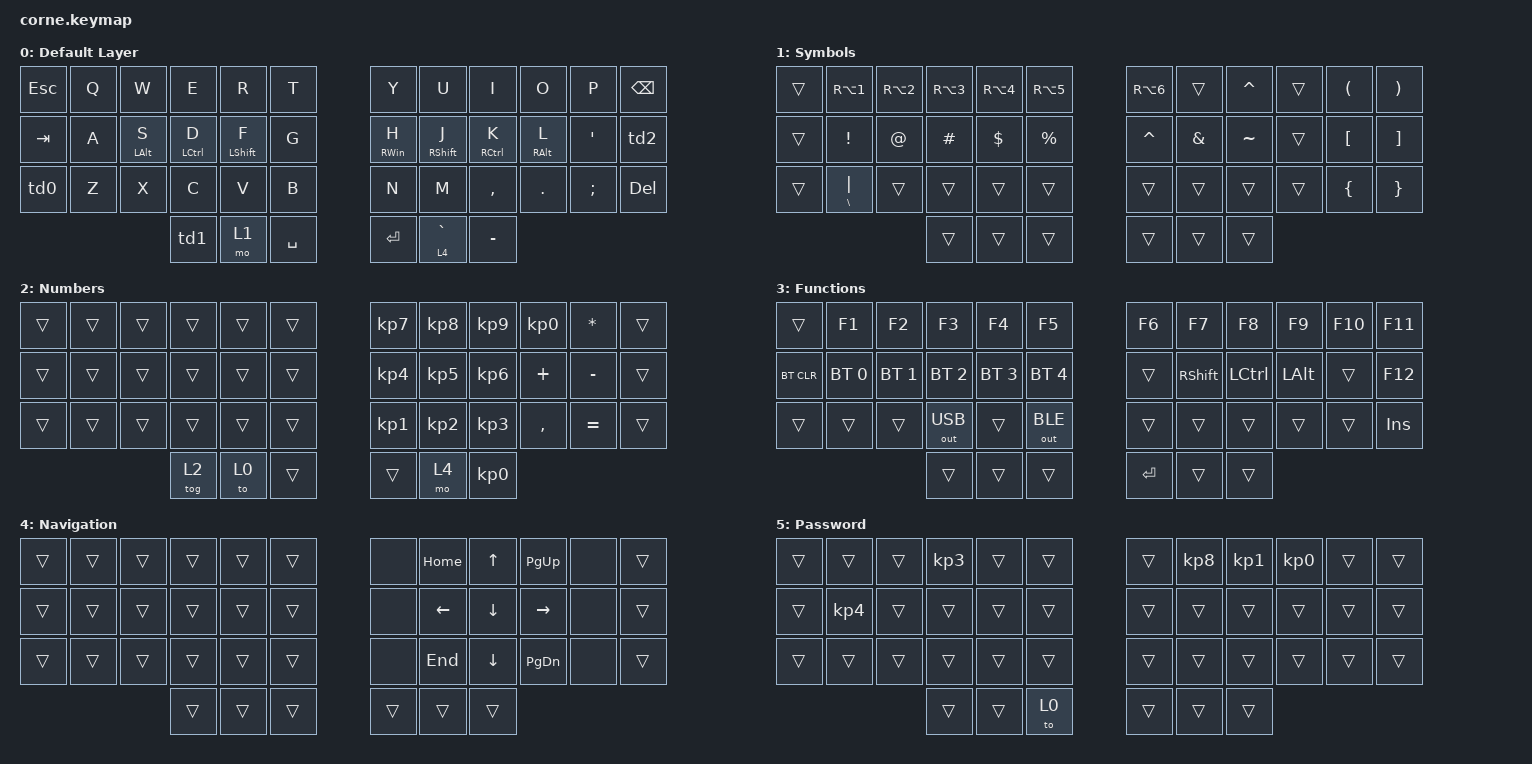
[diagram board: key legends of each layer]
/*
 * Copyright (c) 2020 The ZMK Contributors
 *
 * SPDX-License-Identifier: MIT
 */ 

#include <behaviors.dtsi>
#include <dt-bindings/zmk/bt.h>
#include <dt-bindings/zmk/ext_power.h>
#include <dt-bindings/zmk/keys.h>
#include <dt-bindings/zmk/outputs.h>

/ {
    combos {
        compatible = "zmk,combos";

        FunctionsLayer {
            bindings = <&sl 3>;
            key-positions = <40 41>;
        };

        oled_off {
            bindings = <&ext_power EP_OFF>;
            key-positions = <0 11>;
            timeout-ms = <100>;
        };

        oled_on {
            bindings = <&ext_power EP_ON>;
            key-positions = <38 39>;  // Fn & ENTER
            timeout-ms = <100>;
        };

        // Caracteres ordinários na layer números (versão simplificada)
        ord_feminine {
            bindings = <&ord_fem>;
            key-positions = <13>;  // tecla 'a'
            layers = <2>;          // só na layer números
            timeout-ms = <50>;
        };

        ord_masculine {
            bindings = <&ord_masc>;
            key-positions = <1>;   // tecla 'q'  
            layers = <2>;          // só na layer números
            timeout-ms = <50>;
        };

        num_lock {
            bindings = <&kp KP_NUM>;
            key-positions = <2 3>;  // W & E
            layers = <2>;           // só na layer números
            timeout-ms = <50>;
        };

    };

    behaviors {
        // Caps Word temporário e customizado para permitir acentuação
        caps_word_br: caps_word_br {
            compatible = "zmk,behavior-caps-word";
            label = "CAPS_WORD_BR";
            #binding-cells = <0>;
            continue-list = <UNDERSCORE BACKSPACE DELETE 
                           GRAVE TILDE SQT COMMA DOT SLASH LBKT RBKT
                           N1 N2 N3 N4 N5 N6 N7 N8 N9 N0>;
        };

        td0: td0 {
            compatible = "zmk,behavior-tap-dance";
            label = "Tap Dance 0";
            #binding-cells = <0>;
            bindings = <&kp LCTRL>, <&caps_word_br>, <&kp CAPSLOCK>;
            // Um toque: Control, Dois toques: Caps temporário com acentos, Três toques: CAPSLOCK
        };

        td1: td1 {
            compatible = "zmk,behavior-tap-dance";
            label = "Tap Dance 1";
            #binding-cells = <0>;
            bindings = <&mo 2>, <&to 2>;
            // Um toque: hold layer 2, Dois toques: tranca no layer 2 até &to 0
        };

        td2: td2 {
            compatible = "zmk,behavior-tap-dance";
            label = "Tap Dance 2";
            #binding-cells = <0>;
            bindings = <&kp SLASH>, <&to 5>;
            // Um toque: Barra ou Interrogação, Dois toques: tranca no layer 5 até voltar com &to 0
        };

        // Macros para caracteres ordinários (versão corrigida)
        ord_fem: ord_fem {
            compatible = "zmk,behavior-macro";
            #binding-cells = <0>;
            bindings = <&macro_press &kp LALT>
                      , <&macro_tap &kp KP_N1 &kp KP_N6 &kp KP_N6>
                      , <&macro_release &kp LALT>;
        };

        ord_masc: ord_masc {
            compatible = "zmk,behavior-macro"; 
            #binding-cells = <0>;
            bindings = <&macro_press &kp LALT>
                      , <&macro_tap &kp KP_N1 &kp KP_N6 &kp KP_N7>
                      , <&macro_release &kp LALT>;
        };

        // studio_unlock: studio_unlock {
        //     compatible = "zmk,behavior-studio-unlock";
        //     label = "STUDIO_UNLOCK";
        //     #binding-cells = <0>;
        // };
    };

    keymap {
        compatible = "zmk,keymap";
        tapping-term-ms = <400>;

        default {
            display-name = "Default Layer";
            bindings = <
// ┌────────────┬────────────┬────────────┬────────────┬────────────┬────────────┐┌────────────┬────────────┬────────────┬────────────┬────────────┬────────────┐
// │ ESC        │ Q          │ W          │ E          │ R          │ T          ││ Y          │ U          │ I          │ O          │ P          │ ◄-         │
     &kp ESC      &kp Q        &kp W        &kp E        &kp R        &kp T         &kp Y        &kp U        &kp I        &kp O        &kp P        &kp BSPC
// ├────────────┼────────────┼────────────┼────────────┼────────────┼────────────┤├────────────┼────────────┼────────────┼────────────┼────────────┼────────────┤
// │ TAB        │ A          │ S          │ D          │ F          │ G          ││ H          │ J          │ K          │ L          │ ' "        │ / ?        │
     &kp TAB      &kp A        &mt LALT S   &mt LCTRL D  &mt LSHFT F  &kp G         &mt RWIN H   &mt RSHFT J  &mt RCTRL K  &mt RALT L   &kp SQT      &td2
// ├────────────┼────────────┼────────────┼────────────┼────────────┼────────────┤├────────────┼────────────┼────────────┼────────────┼────────────┼────────────┤
// │ ▲          │ Z          │ X          │ C          │ V          │ B          ││ N          │ M          │ , <        │ . >        │ ; :        │ DELETE     │             
     &td0         &kp Z        &kp X        &kp C        &kp V        &kp B         &kp N        &kp M        &kp COMMA    &kp DOT      &kp SEMI     &kp DEL
// └────────────┴────────────┴────────────┼────────────┼────────────┼────────────┤├────────────┼────────────┼────────────┼────────────┴────────────┴────────────┘
//                                        │ NUM        │ HOME       │ SPACE      ││ ENTER      │ ` ~        │ - _        │
                                            &td1         &mo 1        &kp SPACE     &kp ENTER    &lt 4 GRAVE  &kp MINUS
//                                        └────────────┴────────────┴────────────┘└────────────┴────────────┴────────────┘
            >;
            label = "DEFAULT";
        };

        symbols {
            bindings = <
// ┌────────────┬────────────┬────────────┬────────────┬────────────┬────────────┐┌────────────┬────────────┬────────────┬────────────┬────────────┬────────────┐
// │            │ ¡          │ ²          │ ³          │ ¤          │ €          ││ ¼          │            │ ^          │            │ (          │ )          │
     &trans       &kp RA(N1)   &kp RA(N2)   &kp RA(N3)   &kp RA(N4)   &kp RA(N5)    &kp RA(N6)   &trans       &kp CARET    &trans       &kp LPAR     &kp RPAR
// ├────────────┼────────────┼────────────┼────────────┼────────────┼────────────┤├────────────┼────────────┼────────────┼────────────┼────────────┼────────────┤
// │            │ !          │ @          │ #          │ $          │ %          ││ ^          │ &          │ ~          │            │ [          │ ]          │
     &trans       &kp EXCL     &kp AT       &kp HASH     &kp DLLR     &kp PRCNT     &kp CARET    &kp AMPS     &kp TILDE    &trans       &kp LBKT     &kp RBKT
// ├────────────┼────────────┼────────────┼────────────┼────────────┼────────────┤├────────────┼────────────┼────────────┼────────────┼────────────┼────────────┤
// │ ▲          │ \|         │            │            │            │            ││            │            │            │            │ {          │ }          │             
     &trans       &mt BSLH PIPE  &trans     &trans       &trans       &trans        &trans       &trans       &trans       &trans       &kp LBRC     &kp RBRC
// └────────────┴────────────┴────────────┼────────────┼────────────┼────────────┤├────────────┼────────────┼────────────┼────────────┴────────────┴────────────┘
//                                        │            │            │            ││            │            │            │
                                            &trans       &trans       &trans        &trans       &trans       &trans
//                                        └────────────┴────────────┴────────────┘└────────────┴────────────┴────────────┘
            >;

          label = "Symbols";
        };

        numbers {
            bindings = <
// ┌────────────┬────────────┬────────────┬────────────┬────────────┬────────────┐┌────────────┬────────────┬────────────┬────────────┬────────────┬────────────┐
// │            │            │            │            │            │            ││ 7          │ 8          │ 9          │ 0          │ *          │ ◄-         │
     &trans       &trans       &trans       &trans       &trans       &trans        &kp KP_N7    &kp KP_N8    &kp KP_N9    &kp KP_N0    &kp ASTRK    &trans
// ├────────────┼────────────┼────────────┼────────────┼────────────┼────────────┤├────────────┼────────────┼────────────┼────────────┼────────────┼────────────┤
// │            │            │            │            │            │            ││ 4          │ 5          │ 6          │ +          │ -          │ / ?        │
     &trans       &trans       &trans       &trans       &trans       &trans        &kp KP_N4    &kp KP_N5    &kp KP_N6    &kp PLUS     &kp MINUS    &trans
// ├────────────┼────────────┼────────────┼────────────┼────────────┼────────────┤├────────────┼────────────┼────────────┼────────────┼────────────┼────────────┤
// │            │            │            │            │            │            ││ 1          │ 2          │ 3          │ ,          │ =          │ DELETE     │
     &trans       &trans       &trans       &trans       &trans       &trans        &kp KP_N1    &kp KP_N2    &kp KP_N3    &kp COMMA    &kp EQUAL    &trans
// └────────────┴────────────┴────────────┼────────────┼────────────┼────────────┤├────────────┼────────────┼────────────┼────────────┴────────────┴────────────┘
//                                        │ Toggle Num │ Go home    │            ││ ENTER      │ Moment Nav.│ 0          │
                                            &tog 2       &to 0        &trans        &trans       &mo 4        &kp KP_N0
//                                        └────────────┴────────────┴────────────┘└────────────┴────────────┴────────────┘
            >;

            label = "Numbers";
        };

        functions {
            display-name = "Functions";

            bindings = <
// ┌────────────┬────────────┬────────────┬────────────┬────────────┬────────────┐┌────────────┬────────────┬────────────┬────────────┬────────────┬────────────┐
// │            │ F1         │ F2         │ F3         │ F4         │ F5         ││ F6         │ F7         │ F8         │ F9         │ F10        │ F11        │
     &trans       &kp F1       &kp F2       &kp F3       &kp F4       &kp F5        &kp F6       &kp F7       &kp F8       &kp F9       &kp F10      &kp F11
// ├────────────┼────────────┼────────────┼────────────┼────────────┼────────────┤├────────────┼────────────┼────────────┼────────────┼────────────┼────────────┤
// │ Clear BT   │ BT 0       │ BT 1       │ BT 2       │ BT 3       │ BT 4       ││            │            │            │            │            │            │
     &bt BT_CLR  &bt BT_SEL 0 &bt BT_SEL 1 &bt BT_SEL 2 &bt BT_SEL 3 &bt BT_SEL 4   &trans       &kp RSHFT    &kp LCTRL    &kp LALT     &trans       &kp F12
// ├────────────┼────────────┼────────────┼────────────┼────────────┼────────────┤├────────────┼────────────┼────────────┼────────────┼────────────┼────────────┤
// │            │            │            │            │            │            ││            │            │            │            │            │ INSERT     │
     &trans       &trans       &trans      &out OUT_USB  &trans      &out OUT_BLE   &trans       &trans       &trans       &trans       &trans       &kp INS
// └────────────┴────────────┴────────────┼────────────┼────────────┼────────────┤├────────────┼────────────┼────────────┼────────────┴────────────┴────────────┘
//                                        │            │            │            ││ RETURN     │            │            │
                                            &trans       &trans       &trans        &kp RET      &trans       &trans
//                                        └────────────┴────────────┴────────────┘└────────────┴────────────┴────────────┘          
            >;
        };

        navigation {
            bindings = <
// ┌────────────┬────────────┬────────────┬────────────┬────────────┬────────────┐┌────────────┬────────────┬────────────┬────────────┬──────────────┬────────────┐
// │            │            │            │            │            │            ││ --         │ HOME       │ ↑          │ ▲          │ --           │            │
     &trans       &trans       &trans       &trans       &trans       &trans        &none        &kp HOME     &kp UP       &kp PG_UP    &none           &trans
// ├────────────┼────────────┼────────────┼────────────┼────────────┼────────────┤├────────────┼────────────┼────────────┼────────────┼──────────────┼────────────┤
// │            │            │            │            │            │            ││ --         │ ←          │ ↓          │ →          │ --           │            │
     &trans       &trans       &trans       &trans       &trans       &trans        &none        &kp LEFT     &kp DOWN     &kp RIGHT    &none           &trans
// ├────────────┼────────────┼────────────┼────────────┼────────────┼────────────┤├────────────┼────────────┼────────────┼────────────┼──────────────┼────────────┤
// │            │            │            │            │            │            ││ --         │ END        │ ↓          │ ▼          │ --           │            │
     &trans       &trans       &trans       &trans       &trans       &trans        &none        &kp END      &kp DOWN     &kp PG_DN    &none          &trans
// └────────────┴────────────┴────────────┼────────────┼────────────┼────────────┤├────────────┼────────────┼────────────┼────────────┴──────────────┴────────────┘
//                                        │            │            │            ││            │            │            │
                                            &trans       &trans       &trans        &trans       &trans       &trans
//                                        └────────────┴────────────┴────────────┘└────────────┴────────────┴────────────┘
            >;

            label = "Navigation";
        };
        
        password {
            bindings = <
// ┌────────────┬────────────┬────────────┬────────────┬────────────┬────────────┐┌────────────┬────────────┬────────────┬────────────┬──────────────┬────────────┐
// │            │            │            │ 3          │            │            ││            │ 8          │ 1          │ 0          │              │            │
     &trans       &trans       &trans       &kp KP_N3    &trans       &trans        &trans       &kp KP_N8    &kp KP_N1    &kp KP_N0    &trans         &trans
// ├────────────┼────────────┼────────────┼────────────┼────────────┼────────────┤├────────────┼────────────┼────────────┼────────────┼──────────────┼────────────┤
// │            │ 4          │            │            │            │            ││            │            │            │            │              │            │
     &trans       &kp KP_N4    &trans       &trans       &trans       &trans        &trans       &trans       &trans       &trans       &trans         &trans
// ├────────────┼────────────┼────────────┼────────────┼────────────┼────────────┤├────────────┼────────────┼────────────┼────────────┼──────────────┼────────────┤
// │            │            │            │            │            │            ││            │            │            │            │              │            │
     &trans       &trans       &trans       &trans       &trans       &trans        &trans       &trans       &trans       &trans       &trans         &trans
// └────────────┴────────────┴────────────┼────────────┼────────────┼────────────┤├────────────┼────────────┼────────────┼────────────┴──────────────┴────────────┘
//                                        │            │            │ Go home    ││            │            │            │
                                            &trans       &trans       &to 0         &trans       &trans       &trans
//                                        └────────────┴────────────┴────────────┘└────────────┴────────────┴────────────┘
            >;

            label = "Password";
        };
    };
};
